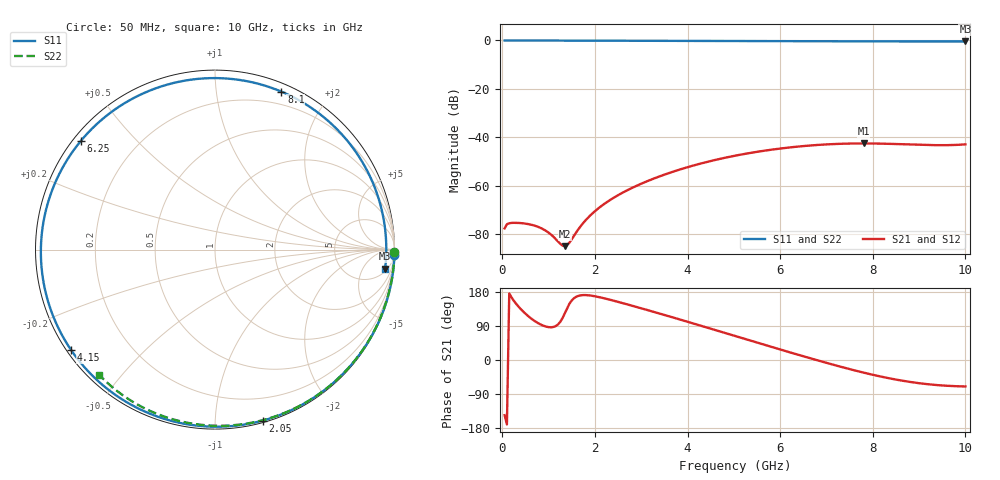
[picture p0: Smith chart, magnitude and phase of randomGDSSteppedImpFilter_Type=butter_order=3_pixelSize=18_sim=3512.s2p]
! freq	dB(S11)	phase(S11)	dB(S12)	phase(S12)
!  dB(S21)	phase(S21)	dB(S22)	phase(S22)
!S-par simulation data
#  GHz  S  DB  R 50
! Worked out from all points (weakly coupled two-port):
!   200 points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, 50 MHz to 10 GHz, reference 50 ohm
!   highest |S21| = -42.50 dB at 7.8 GHz (marker M1); lowest = -84.9 dB at 1.35 GHz (marker M2)
!   lowest |S11| = -0.4 dB at 10 GHz (marker M3), VSWR 42.31, Z = 321 - j758 ohm
!   |S11| at or under -10 dB: nowhere
!   |S22| runs from -0.4 to 0.0 dB; largest |S21 - S12| = 0
!   S11 on the Smith chart (normalised r, x): 50 MHz: 0, -61; 2.05 GHz: 0.02, -1.32; 4.15 GHz: 0.01, -0.31; 6.25 GHz: 0.02, +0.35; 8.1 GHz: 0.08, +1.50; 10 GHz: 6, -15
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0.05  -0.00 -1.9  -77.56 -145.7  -77.56 -145.7  -0.00 -0.8
0.15  -0.00 -5.6  -75.45 175.7  -75.45 175.7  -0.00 -2.3
0.45  -0.01 -16.8  -75.47 128.0  -75.47 128.0  -0.01 -6.9
0.8  -0.03 -29.7  -77.15 95.5  -77.15 95.5  -0.01 -12.2
1.05  -0.05 -38.8  -80.09 86.3  -80.09 86.3  -0.02 -16.0
1.35  -0.06 -49.7  -84.90 123.4  -84.90 123.4  -0.03 -20.5
1.55  -0.07 -56.8  -80.56 163.3  -80.56 163.3  -0.03 -23.5
1.75  -0.08 -63.9  -75.29 171.3  -75.29 171.3  -0.03 -26.5
2.05  -0.10 -74.4  -69.67 167.0  -69.67 167.0  -0.04 -30.9
2.7  -0.12 -96.7  -61.81 146.7  -61.81 146.7  -0.05 -40.4
3.4  -0.16 -120.2  -56.07 122.5  -56.07 122.5  -0.07 -50.4
4.15  -0.20 -145.2  -51.49 95.5  -51.49 95.5  -0.08 -60.8
5.05  -0.25 -175.6  -47.48 62.4  -47.48 62.4  -0.11 -72.9
5.65  -0.30 163.2  -45.52 40.4  -45.52 40.4  -0.13 -80.8
6.25  -0.34 141.1  -44.06 18.8  -44.06 18.8  -0.16 -88.4
6.7  -0.36 123.9  -43.28 2.8  -43.28 2.8  -0.18 -94.0
7.25  -0.39 102.0  -42.69 -15.9  -42.69 -15.9  -0.21 -100.7
7.8  -0.40 79.5  -42.50 -33.3  -42.50 -33.3  -0.25 -107.3
8.1  -0.40 67.2  -42.56 -41.8  -42.56 -41.8  -0.27 -110.8
8.35  -0.40 56.9  -42.66 -48.2  -42.66 -48.2  -0.29 -113.8
9.2  -0.40 23.0  -43.16 -64.0  -43.16 -64.0  -0.36 -123.6
10  -0.41 -6.4  -42.88 -69.9  -42.88 -69.9  -0.44 -132.7
